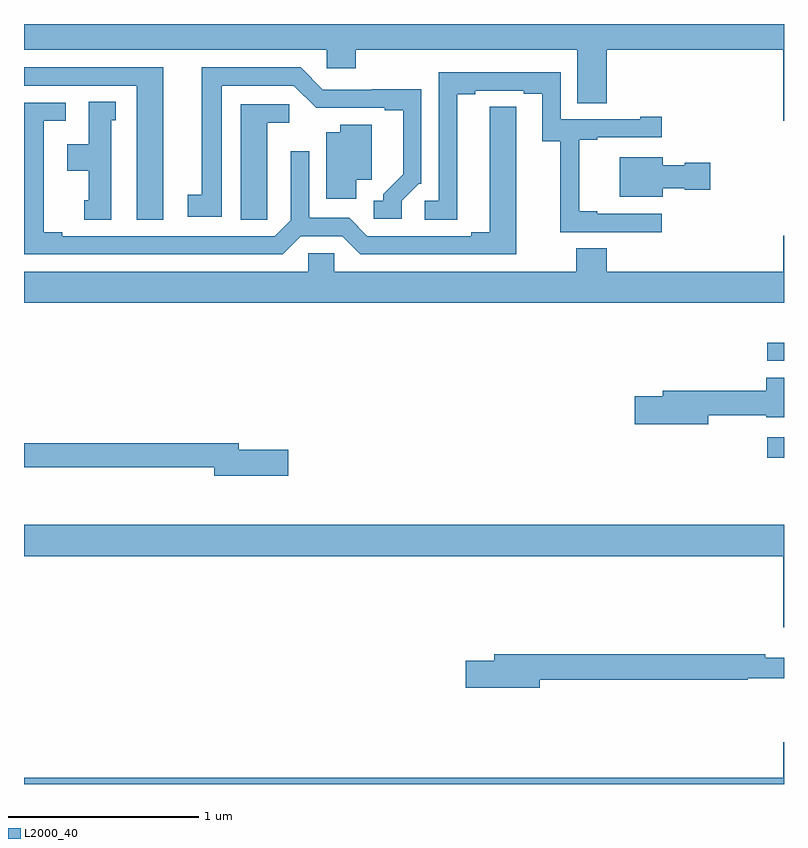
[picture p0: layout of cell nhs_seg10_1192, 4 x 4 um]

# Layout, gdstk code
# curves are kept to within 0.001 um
import gdstk
lib = gdstk.Library(unit=1e-6, precision=1e-09)
def R(c, l, rs):  # rectangles x0, y0, x1, y1
    for r in rs: c.add(gdstk.rectangle(r[:2], r[2:], *l))
def P(c, l, *ps):  # polygons
    for p in ps: c.add(gdstk.Polygon(p, *l))
L2000_40 = (2000, 40)

nhs_seg10_1192 = lib.new_cell('nhs_seg10_1192')
R(nhs_seg10_1192, L2000_40, [(176.913,1250.217,177,1250.325), (176.913,1250.727,177,1250.823)])
P(nhs_seg10_1192, L2000_40, [(177,1252.5),(173,1252.5),(173,1252.364),(174.594,1252.364),(174.594,1252.266),(174.746,1252.266),(174.746,1252.364),(175.913,1252.364),(175.913,1252.084),(176.066,1252.084),(176.066,1252.364),(176.996,1252.364),(176.996,1251.99),(177,1251.99)],
  [(174.987,1251.57),(175.077,1251.66),(175.092,1251.66),(175.092,1252.157),(174.829,1252.157),(174.829,1252.155),(174.573,1252.155),(174.456,1252.272),(173.936,1252.272),(173.936,1251.602),(173.862,1251.602),(173.862,1251.486),(174.04,1251.486),(174.04,1252.176),(174.42,1252.176),(174.537,1252.059),(174.899,1252.059),(174.899,1252.047),(174.995,1252.047),(174.995,1251.71),(174.89,1251.605),(174.89,1251.57),(174.84,1251.57),(174.84,1251.474),(174.987,1251.474)],
  [(173.734,1252.272),(173,1252.272),(173,1252.176),(173.594,1252.176),(173.594,1251.471),(173.734,1251.471)],
  [(176.356,1251.501),(176.017,1251.501),(176.017,1251.514),(175.922,1251.514),(175.922,1251.891),(176.017,1251.891),(176.017,1251.903),(176.356,1251.903),(176.356,1252.012),(176.243,1252.012),(176.243,1251.999),(175.824,1251.999),(175.824,1252.245),(175.182,1252.245),(175.182,1251.57),(175.11,1251.57),(175.11,1251.469),(175.279,1251.469),(175.279,1252.129),(175.375,1252.129),(175.375,1252.149),(175.631,1252.149),(175.631,1252.134),(175.727,1252.134),(175.727,1251.883),(175.822,1251.883),(175.822,1251.405),(176.356,1251.405)],
  [(173.458,1251.993),(173.482,1251.993),(173.482,1252.091),(173.342,1252.091),(173.342,1251.868),(173.228,1251.868),(173.228,1251.728),(173.342,1251.728),(173.342,1251.573),(173.318,1251.573),(173.318,1251.471),(173.458,1251.471)],
  [(174.457,1251.384),(174.675,1251.384),(174.771,1251.288),(175.591,1251.288),(175.59,1252.064),(175.451,1252.064),(175.451,1251.404),(175.355,1251.404),(175.355,1251.384),(174.807,1251.384),(174.711,1251.48),(174.501,1251.48),(174.501,1251.829),(174.405,1251.829),(174.405,1251.468),(174.321,1251.384),(173.2,1251.384),(173.2,1251.404),(173.104,1251.404),(173.104,1251.99),(173.221,1251.99),(173.221,1252.086),(173,1252.086),(173,1251.288),(174.361,1251.288)],
  [(174.279,1251.577),(174.28,1251.577),(174.28,1251.98),(174.397,1251.98),(174.397,1252.077),(174.14,1252.077),(174.14,1251.469),(174.279,1251.469)],
  [(174.748,1251.68),(174.829,1251.68),(174.829,1251.97),(174.665,1251.97),(174.665,1251.931),(174.59,1251.931),(174.59,1251.579),(174.748,1251.579)],
  [(176.362,1251.635),(176.478,1251.635),(176.478,1251.628),(176.611,1251.628),(176.611,1251.77),(176.478,1251.77),(176.478,1251.757),(176.362,1251.757),(176.362,1251.799),(176.135,1251.799),(176.135,1251.59),(176.362,1251.59)],
  [(177,1251.385),(176.996,1251.385),(176.996,1251.196),(176.066,1251.196),(176.066,1251.32),(175.906,1251.32),(175.906,1251.196),(174.633,1251.196),(174.633,1251.294),(174.495,1251.294),(174.495,1251.196),(173,1251.196),(173,1251.032),(177,1251.032)],
  [(176.602,1250.44),(176.906,1250.44),(176.906,1250.429),(177,1250.429),(177,1250.638),(176.906,1250.638),(176.906,1250.569),(176.363,1250.569),(176.363,1250.54),(176.214,1250.54),(176.214,1250.393),(176.602,1250.393)],
  [(174.391,1250.258),(174.13,1250.258),(174.13,1250.294),(173,1250.294),(173,1250.166),(174.002,1250.166),(174.002,1250.123),(174.391,1250.123)],
  [(177,1249.864),(173,1249.864),(173,1249.7),(176.996,1249.7),(176.996,1249.326),(177,1249.326)],
  [(175.714,1249.048),(176.81,1249.048),(176.81,1249.056),(177,1249.056),(177,1249.165),(176.9,1249.165),(176.9,1249.184),(175.475,1249.184),(175.475,1249.148),(175.326,1249.148),(175.326,1249.006),(175.714,1249.006)],
  [(177,1248.721),(176.996,1248.721),(176.996,1248.532),(173,1248.532),(173,1248.5),(177,1248.5)])

lib.write_gds('nhs_seg10_1192.gds')
